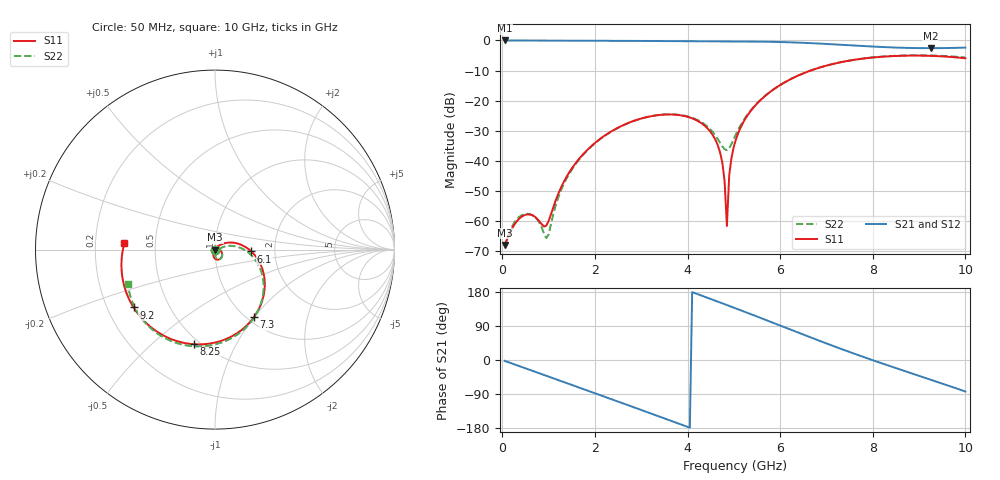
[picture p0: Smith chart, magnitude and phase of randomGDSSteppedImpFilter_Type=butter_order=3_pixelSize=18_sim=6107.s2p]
! freq	dB(S11)	phase(S11)	dB(S12)	phase(S12)
!  dB(S21)	phase(S21)	dB(S22)	phase(S22)
!S-par simulation data
#  GHz  S  DB  R 50
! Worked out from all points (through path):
!   200 points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, 50 MHz to 10 GHz, reference 50 ohm
!   highest |S21| = 0.00 dB at 50 MHz (marker M1); lowest = -2.6 dB at 9.25 GHz (marker M2)
!   group delay of S21, straight-line fit = 125 ps
!   lowest |S11| = -67.8 dB at 50 MHz (marker M3), VSWR 1.00, Z = 50 - j0.0193 ohm
!   |S11| at or under -10 dB: start of sweep to 6.655 GHz
!   |S22| runs from -68.2 to -4.9 dB; largest |S21 - S12| = 0
!   S11 on the Smith chart (normalised r, x): 50 MHz: 1.00, -0.00; 6.1 GHz: 1.51, -0.03; 7.3 GHz: 1.08, -1.00; 8.25 GHz: 0.46, -0.69; 9.2 GHz: 0.31, -0.29; 10 GHz: 0.33, +0.03
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0.05  -67.81 -28.2  -0.00 -2.2  -0.00 -2.2  -68.23 -23.7
0.5  -57.84 -114.2  -0.03 -21.9  -0.03 -21.9  -57.53 -106.9
0.95  -61.41 139.6  -0.05 -41.6  -0.05 -41.6  -65.54 153.4
1.3  -47.77 54.7  -0.06 -57.0  -0.06 -57.0  -48.54 46.4
1.75  -37.65 23.1  -0.08 -76.7  -0.08 -76.7  -37.83 19.6
2.55  -28.54 -17.7  -0.13 -111.9  -0.13 -111.9  -28.58 -17.6
3.4  -24.71 -57.3  -0.20 -149.6  -0.20 -149.6  -24.68 -53.7
4.55  -31.51 -110.5  -0.27 158.8  -0.27 158.8  -30.48 -84.9
4.75  -40.38 -121.4  -0.29 149.7  -0.29 149.7  -35.09 -64.5
4.8  -46.55 -126.4  -0.29 147.4  -0.29 147.4  -36.09 -51.3
4.85  -61.55 127.1  -0.29 145.1  -0.29 145.1  -36.38 -34.6
4.9  -44.68 58.4  -0.30 142.8  -0.30 142.8  -35.71 -17.9
5.05  -32.59 48.2  -0.31 135.8  -0.31 135.8  -31.00 10.6
5.45  -21.80 28.5  -0.36 117.1  -0.36 117.1  -21.66 14.8
6.1  -13.88 -2.8  -0.56 86.2  -0.56 86.2  -13.88 -8.3
6.7  -9.76 -31.8  -0.92 57.7  -0.92 57.7  -9.76 -33.9
7.3  -7.25 -60.0  -1.42 30.0  -1.42 30.0  -7.24 -59.4
8.25  -5.35 -102.6  -2.21 -11.1  -2.21 -11.1  -5.31 -97.2
8.35  -5.26 -107.0  -2.28 -15.2  -2.28 -15.2  -5.21 -100.9
9.2  -5.09 -144.6  -2.57 -49.8  -2.57 -49.8  -4.96 -131.4
9.25  -5.11 -146.9  -2.57 -51.8  -2.57 -51.8  -4.98 -133.1
10  -5.92 175.9  -2.37 -83.2  -2.37 -83.2  -5.67 -158.5
